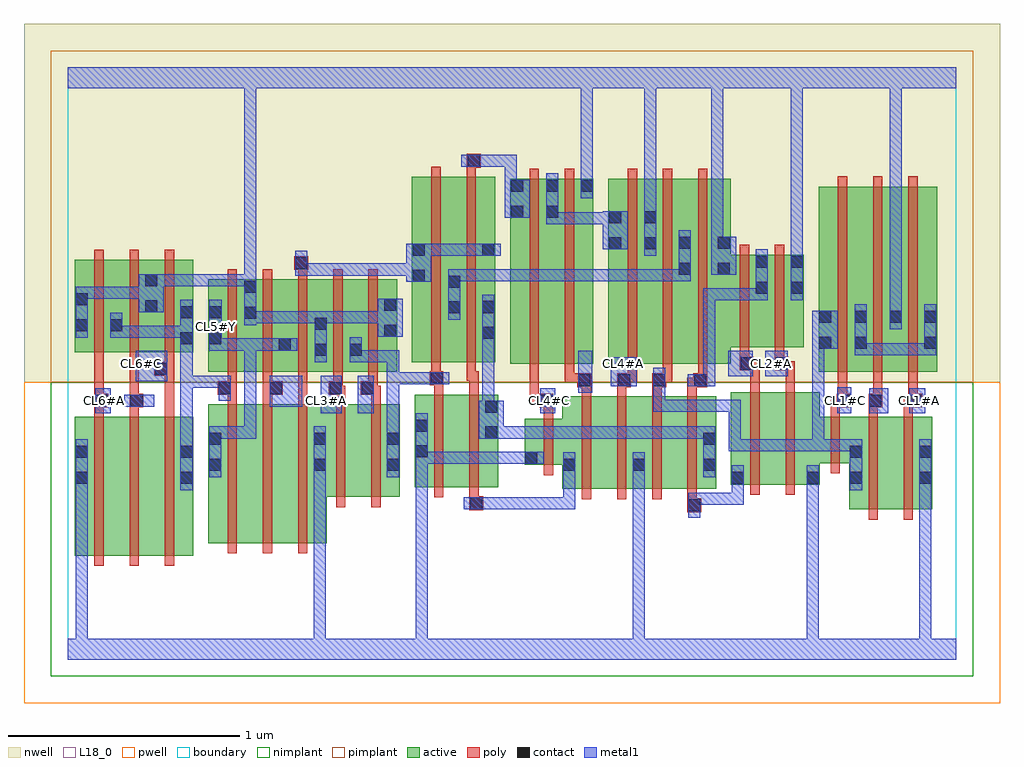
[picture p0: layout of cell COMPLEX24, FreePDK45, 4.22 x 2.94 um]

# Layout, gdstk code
import gdstk
lib = gdstk.Library(unit=1e-6, precision=1e-09)
def R(c, l, rs):  # rectangles x0, y0, x1, y1
    for r in rs: c.add(gdstk.rectangle(r[:2], r[2:], *l))
def A(c, l, x, y, w, h, nx, ny, dx, dy):  # array of equal rectangles
    R(c, l, [(x+i*dx, y+j*dy, x+i*dx+w, y+j*dy+h) for i in range(nx) for j in range(ny)])
active = (1, 0)
pwell = (2, 0)
nwell = (3, 0)
nimplant = (4, 0)
pimplant = (5, 0)
poly = (9, 0)
contact = (10, 0)
metal1 = (11, 0)
L18_0 = (18, 0)
boundary = (235, 0)

complex24 = lib.new_cell('COMPLEX24')
R(complex24, active, [(0.032,0.45,0.212,1.05), (0.212,0.45,0.364,1.05), (0.364,0.45,0.544,1.05), (0.608,0.504,0.788,1.104), (0.608,0.504,0.668,1.104), (0.788,0.504,0.94,1.104), (0.94,0.504,1.12,1.104), (1.06,0.504,1.12,0.984), (0.032,0.556,0.092,1.05), (0.484,0.556,0.544,1.05), (3.376,0.65,3.556,1.05), (3.376,0.65,3.436,0.928), (3.556,0.65,3.736,1.05), (3.676,0.65,3.736,1.05), (1.06,0.704,1.256,1.104), (1.256,0.704,1.436,1.104), (1.376,0.704,1.436,1.104), (2.138,0.738,2.318,1.138), (2.318,0.738,2.498,1.138), (2.438,0.738,2.622,1.138), (2.622,0.738,2.802,1.138), (1.5,0.746,1.56,1.146), (1.5,0.746,1.68,1.146), (1.68,0.746,1.86,1.146), (1.8,0.756,1.86,1.146), (2.438,0.756,2.498,0.872), (2.742,0.756,2.802,1.138), (2.866,0.756,2.926,1.156), (2.866,0.756,3.046,1.156), (3.046,0.756,3.25,1.156), (3.19,0.756,3.25,0.85), (2.138,0.812,2.198,0.872), (1.974,0.842,2.198,1.042), (1.974,0.842,2.034,1.042), (3.19,0.85,3.436,1.05), (0.608,1.244,0.668,1.644), (0.608,1.244,0.82,1.644), (0.76,1.244,0.968,1.644), (0.908,1.244,1.124,1.644), (1.064,1.244,1.124,1.644), (1.064,1.244,1.276,1.644), (1.216,1.244,1.276,1.644), (1.216,1.244,1.424,1.644), (1.364,1.244,1.424,1.644), (3.244,1.244,3.304,2.044), (3.244,1.244,3.456,2.044), (3.396,1.244,3.456,2.044), (3.396,1.244,3.608,2.044), (3.548,1.244,3.756,2.044), (3.696,1.244,3.756,2.044), (1.912,1.278,2.124,2.078), (2.064,1.278,2.272,2.078), (2.212,1.278,2.272,2.078), (2.336,1.278,2.396,2.078), (2.336,1.278,2.548,2.078), (2.488,1.278,2.696,2.078), (2.636,1.278,2.864,2.078), (1.488,1.286,1.548,2.086), (1.488,1.286,1.7,2.086), (1.64,1.286,1.848,2.086), (1.788,1.286,1.848,2.086), (1.64,1.292,1.7,2.044), (2.636,1.31,2.696,2.078), (0.032,1.328,0.092,1.728), (0.032,1.328,0.24,1.728), (0.18,1.328,0.24,1.728), (0.18,1.328,0.392,1.728), (0.332,1.328,0.544,1.728), (0.484,1.328,0.544,1.728), (0.908,1.332,0.968,1.644), (0.76,1.346,0.82,1.644), (2.804,1.35,3.028,1.75), (2.968,1.35,3.18,1.75), (3.12,1.35,3.18,1.75), (3.548,1.452,3.608,2.044), (2.804,1.486,2.864,1.85), (0.332,1.498,0.392,1.67), (2.968,1.578,3.028,1.75), (1.912,1.686,1.972,2.078), (2.064,1.686,2.124,2.078), (2.488,1.686,2.548,2.078)])
R(complex24, pwell, [(-0.188,-0.188,4.028,1.2)])
R(complex24, nwell, [(-0.188,1.2,4.028,2.748)])
R(complex24, nimplant, [(-0.072,-0.072,3.912,1.2)])
R(complex24, pimplant, [(-0.072,1.2,3.912,2.632)])
A(complex24, poly, 0.116, 0.406, 0.04, 0.688, 3, 1, 0.152, 0)
A(complex24, poly, 0.692, 0.46, 0.04, 0.688, 3, 1, 0.152, 0)
A(complex24, poly, 2.222, 0.694, 0.04, 0.488, 4, 1, 0.152, 0)
A(complex24, poly, 3.328, 1.11, 0.04, 0.13, 3, 1, 0.152, 0)
A(complex24, poly, 2.222, 1.142, 0.04, 0.076, 4, 1, 0.152, 0)
A(complex24, poly, 0.692, 1.164, 0.04, 0.076, 5, 1, 0.152, 0)
A(complex24, poly, 2.42, 1.198, 0.04, 0.076, 3, 1, 0.152, 0)
A(complex24, poly, 0.692, 1.2, 0.04, 0.488, 5, 1, 0.152, 0)
A(complex24, poly, 3.328, 1.2, 0.04, 0.888, 3, 1, 0.152, 0)
A(complex24, poly, 2.42, 1.234, 0.04, 0.888, 3, 1, 0.152, 0)
A(complex24, poly, 0.116, 1.284, 0.04, 0.488, 3, 1, 0.152, 0)
R(complex24, poly, [(3.46,0.606,3.5,1.094), (3.612,0.606,3.652,1.094), (2.678,0.638,2.738,0.698), (1.736,0.646,1.796,0.706), (2.678,0.658,2.718,0.734), (1.16,0.66,1.2,1.148), (1.312,0.66,1.352,1.148), (1.736,0.666,1.776,0.742), (1.584,0.702,1.624,1.19), (1.736,0.702,1.776,1.19), (2.95,0.712,2.99,1.2), (3.102,0.712,3.142,1.2), (2.058,0.798,2.098,1.086), (3.296,0.806,3.336,1.094), (2.058,1.046,2.098,1.13), (0.116,1.054,0.156,1.13), (0.268,1.054,0.308,1.13), (0.42,1.054,0.46,1.268), (3.296,1.054,3.336,1.13), (3.46,1.054,3.5,1.13), (3.612,1.054,3.652,1.13), (0.116,1.09,0.176,1.15), (0.268,1.09,0.328,1.15), (2.038,1.09,2.098,1.15), (3.296,1.09,3.362,1.13), (3.322,1.09,3.362,1.13), (3.322,1.09,3.382,1.15), (3.46,1.09,3.52,1.15), (3.612,1.09,3.672,1.13), (3.632,1.09,3.672,1.13), (3.632,1.09,3.692,1.15), (0.692,1.108,0.732,1.184), (0.844,1.108,0.884,1.184), (0.996,1.108,1.036,1.204), (1.16,1.108,1.2,1.184), (1.312,1.108,1.352,1.184), (0.116,1.11,0.156,1.15), (0.116,1.11,0.156,1.15), (0.116,1.11,0.156,1.324), (0.268,1.11,0.308,1.15), (0.268,1.11,0.308,1.15), (0.268,1.11,0.308,1.324), (1.996,1.11,2.036,1.274), (1.996,1.11,2.078,1.15), (2.038,1.11,2.078,1.15), (3.48,1.11,3.52,1.15), (3.48,1.11,3.52,1.15), (0.65,1.144,0.732,1.204), (0.692,1.144,0.732,1.184), (0.692,1.144,0.732,1.184), (0.844,1.144,0.93,1.204), (1.128,1.144,1.188,1.204), (1.148,1.144,1.188,1.184), (1.148,1.144,1.2,1.184), (1.266,1.144,1.34,1.204), (1.3,1.144,1.34,1.184), (1.3,1.144,1.352,1.184), (1.584,1.15,1.624,1.226), (1.736,1.15,1.776,1.246), (2.95,1.16,2.99,1.29), (3.102,1.16,3.142,1.29), (0.844,1.164,0.884,1.204), (0.844,1.164,0.884,1.204), (0.996,1.164,1.036,1.204), (0.996,1.164,1.036,1.204), (0.996,1.164,1.036,1.204), (2.202,1.178,2.262,1.238), (2.374,1.178,2.434,1.238), (2.526,1.178,2.586,1.238), (2.678,1.178,2.744,1.218), (2.704,1.178,2.744,1.218), (2.704,1.178,2.764,1.238), (1.564,1.186,1.624,1.246), (1.584,1.186,1.624,1.226), (1.584,1.186,1.624,1.226), (2.148,1.198,2.188,1.274), (2.148,1.198,2.242,1.238), (2.202,1.198,2.242,1.238), (2.394,1.198,2.434,1.238), (2.394,1.198,2.46,1.238), (2.546,1.198,2.586,1.238), (2.546,1.198,2.612,1.238), (1.572,1.206,1.612,1.282), (1.724,1.206,1.764,1.246), (1.724,1.206,1.764,1.246), (1.724,1.206,1.764,1.282), (1.724,1.206,1.776,1.246), (0.374,1.228,0.46,1.288), (0.42,1.228,0.46,1.268), (0.42,1.228,0.46,1.268), (1.996,1.234,2.036,2.122), (2.148,1.234,2.188,2.122), (1.572,1.242,1.612,2.13), (1.724,1.242,1.764,2.13), (0.42,1.248,0.46,1.324), (2.904,1.25,2.964,1.31), (2.924,1.25,2.964,1.29), (2.924,1.25,2.99,1.29), (3.056,1.25,3.116,1.31), (3.076,1.25,3.116,1.29), (3.076,1.25,3.142,1.29), (2.904,1.27,2.944,1.346), (3.056,1.27,3.096,1.346), (2.904,1.306,2.944,1.794), (3.056,1.306,3.096,1.794), (0.996,1.648,1.036,1.724), (0.98,1.684,1.04,1.744), (1.724,2.09,1.764,2.166), (1.724,2.126,1.784,2.186)])
A(complex24, contact, 3.248, 1.456, 0.052, 0.052, 3, 1, 0.152, 0)
R(complex24, contact, [(2.682,0.642,2.734,0.694), (1.74,0.65,1.792,0.702), (0.036,0.76,0.088,0.812), (0.488,0.76,0.54,0.812), (2.87,0.76,2.922,0.812), (3.194,0.76,3.246,0.812), (3.38,0.76,3.432,0.812), (3.68,0.76,3.732,0.812), (0.612,0.816,0.664,0.868), (1.064,0.816,1.116,0.868), (1.38,0.816,1.432,0.868), (2.142,0.816,2.194,0.868), (2.442,0.816,2.494,0.868), (2.746,0.816,2.798,0.868), (1.978,0.846,2.03,0.898), (0.036,0.872,0.088,0.924), (0.488,0.872,0.54,0.924), (3.38,0.872,3.432,0.924), (3.68,0.872,3.732,0.924), (1.504,0.874,1.556,0.926), (0.612,0.928,0.664,0.98), (1.064,0.928,1.116,0.98), (1.38,0.928,1.432,0.98), (2.746,0.928,2.798,0.98), (1.804,0.956,1.856,1.008), (1.504,0.986,1.556,1.038), (1.804,1.068,1.856,1.12), (0.12,1.094,0.172,1.146), (0.272,1.094,0.324,1.146), (2.042,1.094,2.094,1.146), (3.326,1.094,3.378,1.146), (3.464,1.094,3.516,1.146), (3.636,1.094,3.688,1.146), (0.654,1.148,0.706,1.2), (0.874,1.148,0.926,1.2), (1.132,1.148,1.184,1.2), (1.27,1.148,1.322,1.2), (2.206,1.182,2.258,1.234), (2.378,1.182,2.43,1.234), (2.53,1.182,2.582,1.234), (2.708,1.182,2.76,1.234), (1.568,1.19,1.62,1.242), (0.378,1.232,0.43,1.284), (2.908,1.254,2.96,1.306), (3.06,1.254,3.112,1.306), (1.068,1.314,1.12,1.366), (1.22,1.314,1.272,1.366), (0.912,1.336,0.964,1.388), (3.248,1.344,3.3,1.396), (3.4,1.344,3.452,1.396), (3.7,1.344,3.752,1.396), (0.488,1.364,0.54,1.416), (0.612,1.364,0.664,1.416), (1.792,1.386,1.844,1.438), (1.368,1.396,1.42,1.448), (0.036,1.42,0.088,1.472), (0.184,1.42,0.236,1.472), (1.068,1.426,1.12,1.478), (3.7,1.456,3.752,1.508), (0.764,1.474,0.816,1.526), (0.488,1.476,0.54,1.528), (0.612,1.476,0.664,1.528), (1.644,1.496,1.696,1.548), (1.792,1.498,1.844,1.55), (0.336,1.502,0.388,1.554), (1.368,1.508,1.42,1.56), (0.036,1.532,0.088,1.584), (2.972,1.582,3.024,1.634), (3.124,1.582,3.176,1.634), (0.764,1.586,0.816,1.638), (1.644,1.608,1.696,1.66), (0.336,1.614,0.388,1.666), (1.492,1.634,1.544,1.686), (2.64,1.664,2.692,1.716), (2.808,1.664,2.86,1.716), (0.984,1.688,1.036,1.74), (2.972,1.694,3.024,1.746), (3.124,1.694,3.176,1.746), (1.492,1.746,1.544,1.798), (1.792,1.746,1.844,1.798), (2.34,1.774,2.392,1.826), (2.492,1.774,2.544,1.826), (2.64,1.776,2.692,1.828), (2.808,1.776,2.86,1.828), (2.34,1.886,2.392,1.938), (2.492,1.886,2.544,1.938), (1.916,1.91,1.968,1.962), (2.068,1.91,2.12,1.962), (1.916,2.022,1.968,2.074), (2.068,2.022,2.12,2.074), (2.216,2.022,2.268,2.074), (1.728,2.13,1.78,2.182)])
R(complex24, metal1, [(0,0,3.84,0.092), (0.036,0.04,0.088,0.092), (0.036,0.04,0.088,0.092), (0.036,0.04,0.088,0.092), (0.036,0.04,0.088,0.092), (0.036,0.04,0.088,0.092), (0.036,0.04,0.088,0.092), (0.036,0.04,0.088,0.784), (1.064,0.04,1.116,0.092), (1.064,0.04,1.116,0.092), (1.064,0.04,1.116,0.092), (1.064,0.04,1.116,0.092), (1.064,0.04,1.116,0.092), (1.064,0.04,1.116,0.092), (1.064,0.04,1.116,0.092), (1.064,0.04,1.116,0.092), (1.064,0.04,1.116,0.84), (1.504,0.04,1.556,0.092), (1.504,0.04,1.556,0.092), (1.504,0.04,1.556,0.092), (1.504,0.04,1.556,0.092), (1.504,0.04,1.556,0.092), (1.504,0.04,1.556,0.092), (1.504,0.04,1.556,0.092), (1.504,0.04,1.556,0.092), (1.504,0.04,1.556,0.092), (1.504,0.04,1.556,0.092), (1.504,0.04,1.556,0.092), (1.504,0.04,1.556,0.092), (1.504,0.04,1.556,0.898), (2.442,0.04,2.494,0.84), (3.194,0.04,3.246,0.092), (3.194,0.04,3.246,0.092), (3.194,0.04,3.246,0.784), (3.68,0.04,3.732,0.092), (3.68,0.04,3.732,0.092), (3.68,0.04,3.732,0.092), (3.68,0.04,3.732,0.092), (3.68,0.04,3.732,0.092), (3.68,0.04,3.732,0.092), (3.68,0.04,3.732,0.092), (3.68,0.04,3.732,0.092), (3.68,0.04,3.732,0.092), (3.68,0.04,3.732,0.092), (3.68,0.04,3.732,0.784), (2.682,0.614,2.734,0.722), (1.712,0.65,1.82,0.702), (1.768,0.65,1.82,0.702), (1.768,0.65,1.82,0.702), (1.768,0.65,2.01,0.702), (1.958,0.65,2.01,0.702), (1.958,0.65,2.01,0.702), (1.958,0.65,2.01,0.702), (1.958,0.65,2.194,0.702), (2.142,0.65,2.194,0.702), (2.142,0.65,2.194,0.84), (2.682,0.67,2.734,0.722), (2.682,0.67,2.734,0.722), (2.682,0.67,2.922,0.722), (2.87,0.67,2.922,0.722), (2.87,0.67,2.922,0.784), (0.036,0.732,0.088,0.784), (0.036,0.732,0.088,0.784), (0.036,0.732,0.088,0.952), (0.488,0.732,0.54,0.952), (2.87,0.732,2.922,0.84), (3.194,0.732,3.246,0.784), (3.194,0.732,3.246,0.784), (3.194,0.732,3.246,0.784), (3.194,0.732,3.246,0.784), (3.194,0.732,3.246,0.784), (3.194,0.732,3.246,0.784), (3.194,0.732,3.246,0.784), (3.194,0.732,3.246,0.784), (3.194,0.732,3.246,0.784), (3.194,0.732,3.246,0.784), (3.194,0.732,3.246,0.84), (3.38,0.732,3.432,0.952), (3.68,0.732,3.732,0.784), (3.68,0.732,3.732,0.784), (3.68,0.732,3.732,0.952), (0.612,0.788,0.664,1.008), (1.064,0.788,1.116,1.008), (1.38,0.788,1.432,1.008), (2.142,0.788,2.194,0.896), (2.442,0.788,2.494,0.84), (2.442,0.788,2.494,0.84), (2.442,0.788,2.494,0.84), (2.442,0.788,2.494,0.84), (2.442,0.788,2.494,0.84), (2.442,0.788,2.494,0.84), (2.442,0.788,2.494,0.84), (2.442,0.788,2.494,0.84), (2.442,0.788,2.494,0.84), (2.442,0.788,2.494,0.84), (2.442,0.788,2.494,0.84), (2.442,0.788,2.494,0.84), (2.442,0.788,2.494,0.896), (2.746,0.788,2.798,1.008), (1.504,0.846,1.556,0.898), (1.504,0.846,1.556,0.898), (1.504,0.846,1.556,1.066), (1.504,0.846,1.698,0.898), (1.646,0.846,1.698,0.898), (1.646,0.846,1.698,0.898), (1.646,0.846,1.698,0.898), (1.646,0.846,1.9,0.898), (1.848,0.846,1.9,0.898), (1.848,0.846,2.002,0.898), (1.95,0.846,2.002,0.898), (1.95,0.846,2.002,0.898), (1.95,0.846,2.002,0.898), (1.95,0.846,2.002,0.898), (1.95,0.846,2.058,0.898), (0.488,0.9,0.54,1.228), (2.856,0.9,2.908,0.952), (2.856,0.9,2.908,0.952), (2.856,0.9,2.908,0.952), (2.856,0.9,3.066,0.952), (2.856,0.9,2.908,1.124), (3.014,0.9,3.066,0.952), (3.014,0.9,3.158,0.952), (3.106,0.9,3.158,0.952), (3.106,0.9,3.268,0.952), (3.216,0.9,3.268,0.952), (3.216,0.9,3.268,0.952), (3.216,0.9,3.268,0.952), (3.216,0.9,3.406,0.952), (3.216,0.9,3.268,1.396), (3.354,0.9,3.406,0.952), (3.354,0.9,3.432,0.952), (0.612,0.956,0.676,1.008), (0.624,0.956,0.676,1.008), (0.624,0.956,0.816,1.008), (0.764,0.956,0.816,1.008), (0.764,0.956,0.816,1.008), (0.764,0.956,0.816,1.008), (0.764,0.956,0.816,1.388), (1.38,0.956,1.432,1.242), (1.776,0.956,1.884,1.12), (1.832,0.956,2.01,1.008), (1.958,0.956,2.01,1.008), (1.958,0.956,2.01,1.008), (1.958,0.956,2.01,1.008), (1.958,0.956,2.138,1.008), (2.086,0.956,2.138,1.008), (2.086,0.956,2.138,1.008), (2.086,0.956,2.138,1.008), (2.086,0.956,2.248,1.008), (2.196,0.956,2.248,1.008), (2.196,0.956,2.248,1.008), (2.196,0.956,2.248,1.008), (2.196,0.956,2.358,1.008), (2.306,0.956,2.358,1.008), (2.306,0.956,2.472,1.008), (2.42,0.956,2.472,1.008), (2.42,0.956,2.472,1.008), (2.42,0.956,2.472,1.008), (2.42,0.956,2.608,1.008), (2.556,0.956,2.608,1.008), (2.556,0.956,2.798,1.008), (2.746,0.956,2.798,1.008), (2.746,0.956,2.798,1.008), (0.12,1.066,0.186,1.174), (1.094,1.066,1.184,1.228), (1.254,1.066,1.322,1.228), (2.042,1.066,2.106,1.174), (3.326,1.066,3.386,1.178), (3.464,1.066,3.546,1.174), (3.636,1.066,3.706,1.174), (1.792,1.068,1.844,1.41), (2.53,1.072,2.718,1.124), (2.53,1.072,2.582,1.206), (2.666,1.072,2.718,1.124), (2.666,1.072,2.718,1.124), (2.666,1.072,2.718,1.124), (2.666,1.072,2.908,1.124), (2.856,1.072,2.908,1.124), (0.244,1.094,0.374,1.146), (0.874,1.094,1.014,1.228), (0.654,1.12,0.706,1.228), (2.206,1.154,2.266,1.334), (2.53,1.154,2.582,1.206), (2.53,1.154,2.582,1.262), (0.488,1.176,0.54,1.228), (0.488,1.176,0.54,1.228), (0.488,1.176,0.54,1.228), (0.488,1.176,0.706,1.228), (0.488,1.176,0.54,1.388), (0.654,1.176,0.706,1.228), (0.654,1.176,0.706,1.228), (2.346,1.182,2.458,1.306), (2.68,1.182,2.788,1.234), (2.736,1.182,2.798,1.234), (2.746,1.182,2.798,1.234), (2.746,1.182,2.798,1.606), (1.38,1.19,1.432,1.242), (1.38,1.19,1.432,1.242), (1.38,1.19,1.432,1.242), (1.38,1.19,1.432,1.242), (1.38,1.19,1.432,1.242), (1.38,1.19,1.592,1.242), (1.38,1.19,1.432,1.338), (1.54,1.19,1.648,1.242), (0.294,1.204,0.43,1.334), (2.854,1.226,2.96,1.334), (3.014,1.226,3.112,1.334), (1.068,1.286,1.12,1.506), (1.22,1.286,1.272,1.338), (1.22,1.286,1.272,1.338), (1.22,1.286,1.272,1.394), (1.22,1.286,1.432,1.338), (1.38,1.286,1.432,1.338), (1.38,1.286,1.432,1.338), (1.38,1.286,1.432,1.338), (3.4,1.316,3.452,1.536), (3.4,1.316,3.578,1.368), (3.526,1.316,3.578,1.368), (3.526,1.316,3.578,1.368), (3.526,1.316,3.578,1.368), (3.526,1.316,3.752,1.368), (3.7,1.316,3.752,1.368), (3.7,1.316,3.752,1.368), (3.7,1.316,3.752,1.536), (0.488,1.336,0.54,1.556), (0.612,1.336,0.666,1.556), (0.614,1.336,0.666,1.388), (0.614,1.336,0.666,1.388), (0.614,1.336,0.666,1.388), (0.614,1.336,0.666,1.388), (0.614,1.336,0.816,1.388), (0.764,1.336,0.816,1.388), (0.764,1.336,0.816,1.388), (0.764,1.336,0.816,1.388), (0.764,1.336,0.816,1.388), (0.764,1.336,0.816,1.388), (0.764,1.336,0.936,1.388), (0.884,1.336,0.992,1.388), (3.216,1.344,3.268,1.396), (3.216,1.344,3.268,1.396), (3.216,1.344,3.268,1.396), (3.216,1.344,3.268,1.396), (3.216,1.344,3.328,1.508), (1.792,1.358,1.844,1.41), (1.792,1.358,1.844,1.41), (1.792,1.358,1.844,1.41), (1.792,1.358,1.844,1.41), (1.792,1.358,1.844,1.578), (0.036,1.392,0.088,1.612), (0.184,1.392,0.236,1.444), (0.184,1.392,0.236,1.444), (0.184,1.392,0.236,1.5), (0.184,1.392,0.43,1.444), (0.378,1.392,0.43,1.444), (0.378,1.392,0.43,1.444), (0.378,1.392,0.43,1.444), (0.378,1.392,0.54,1.444), (1.34,1.396,1.448,1.56), (3.552,1.428,3.604,1.536), (0.764,1.446,0.816,1.666), (0.764,1.454,0.816,1.506), (0.764,1.454,0.816,1.506), (0.764,1.454,1.006,1.506), (0.954,1.454,1.006,1.506), (0.954,1.454,1.006,1.506), (0.954,1.454,1.006,1.506), (0.954,1.454,1.12,1.506), (1.068,1.454,1.146,1.506), (1.094,1.454,1.146,1.506), (1.094,1.454,1.282,1.506), (1.23,1.454,1.282,1.506), (1.23,1.454,1.282,1.506), (1.23,1.454,1.282,1.506), (1.23,1.454,1.392,1.506), (1.644,1.468,1.696,1.688), (3.552,1.484,3.604,1.536), (3.552,1.484,3.604,1.536), (3.552,1.484,3.604,2.52), (0.308,1.502,0.416,1.666), (2.746,1.554,2.798,1.606), (2.746,1.554,2.908,1.606), (2.856,1.554,2.908,1.606), (2.856,1.554,2.908,1.606), (2.856,1.554,2.908,1.606), (2.856,1.554,3.024,1.606), (2.972,1.554,3.024,1.774), (3.124,1.554,3.176,1.774), (0.036,1.56,0.088,1.612), (0.036,1.56,0.088,1.612), (0.036,1.56,0.236,1.612), (0.184,1.56,0.236,1.612), (0.184,1.56,0.236,1.612), (0.184,1.56,0.236,1.612), (0.184,1.56,0.36,1.612), (0.364,1.614,0.416,1.666), (0.364,1.614,0.416,1.666), (0.364,1.614,0.54,1.666), (0.488,1.614,0.54,1.666), (0.488,1.614,0.65,1.666), (0.598,1.614,0.65,1.666), (0.598,1.614,0.65,1.666), (0.598,1.614,0.65,1.666), (0.598,1.614,0.816,1.666), (0.764,1.614,0.816,1.666), (0.764,1.614,0.816,1.666), (0.764,1.614,0.816,1.666), (0.764,1.614,0.816,1.666), (0.764,1.614,0.816,1.666), (0.764,1.614,0.816,1.666), (0.764,1.614,0.816,1.666), (0.764,1.614,0.816,1.666), (0.764,1.614,0.816,1.666), (0.764,1.614,0.816,1.666), (0.764,1.614,0.816,1.666), (0.764,1.614,0.816,1.666), (0.764,1.614,0.816,1.666), (0.764,1.614,0.816,1.666), (0.764,1.614,0.816,1.666), (0.764,1.614,0.816,1.666), (0.764,1.614,0.816,2.52), (1.464,1.634,1.572,1.798), (1.644,1.636,1.696,1.688), (1.644,1.636,1.696,1.688), (1.644,1.636,1.9,1.688), (1.848,1.636,1.9,1.688), (1.848,1.636,2.01,1.688), (1.958,1.636,2.01,1.688), (1.958,1.636,2.01,1.688), (1.958,1.636,2.01,1.688), (1.958,1.636,2.01,1.688), (1.958,1.636,2.01,1.688), (1.958,1.636,2.138,1.688), (2.086,1.636,2.138,1.688), (2.086,1.636,2.138,1.688), (2.086,1.636,2.138,1.688), (2.086,1.636,2.248,1.688), (2.196,1.636,2.248,1.688), (2.196,1.636,2.248,1.688), (2.196,1.636,2.248,1.688), (2.196,1.636,2.358,1.688), (2.306,1.636,2.358,1.688), (2.306,1.636,2.472,1.688), (2.42,1.636,2.472,1.688), (2.42,1.636,2.472,1.688), (2.42,1.636,2.472,1.688), (2.42,1.636,2.692,1.688), (2.64,1.636,2.692,1.856), (0.984,1.66,1.036,1.768), (0.984,1.66,1.146,1.712), (1.094,1.66,1.146,1.712), (1.094,1.66,1.146,1.712), (1.094,1.66,1.146,1.712), (1.094,1.66,1.272,1.712), (1.22,1.66,1.272,1.712), (1.22,1.66,1.272,1.712), (1.22,1.66,1.272,1.712), (1.22,1.66,1.446,1.712), (1.394,1.66,1.446,1.712), (1.394,1.66,1.516,1.712), (2.78,1.664,2.888,1.828), (3.124,1.722,3.176,1.774), (3.124,1.722,3.176,1.774), (3.124,1.722,3.176,1.774), (3.124,1.722,3.176,1.774), (3.124,1.722,3.176,1.774), (3.124,1.722,3.176,1.774), (3.124,1.722,3.176,1.774), (3.124,1.722,3.176,1.774), (3.124,1.722,3.176,1.774), (3.124,1.722,3.176,1.774), (3.124,1.722,3.176,1.774), (3.124,1.722,3.176,1.774), (3.124,1.722,3.176,1.774), (3.124,1.722,3.176,1.774), (3.124,1.722,3.176,1.774), (3.124,1.722,3.176,1.774), (3.124,1.722,3.176,2.52), (1.52,1.746,1.572,1.798), (1.52,1.746,1.572,1.798), (1.52,1.746,1.698,1.798), (1.646,1.746,1.698,1.798), (1.646,1.746,1.816,1.798), (1.764,1.746,1.816,1.798), (1.764,1.746,1.816,1.798), (1.764,1.746,1.872,1.798), (2.492,1.746,2.544,1.966), (2.312,1.774,2.42,1.938), (2.78,1.776,2.832,2.52), (2.068,1.882,2.12,1.934), (2.068,1.882,2.12,1.934), (2.068,1.882,2.12,2.102), (2.068,1.882,2.248,1.934), (2.196,1.882,2.248,1.934), (2.196,1.882,2.364,1.934), (1.888,1.91,1.996,2.074), (2.492,1.914,2.544,1.966), (2.492,1.914,2.544,1.966), (2.492,1.914,2.544,1.966), (2.492,1.914,2.544,1.966), (2.492,1.914,2.544,1.966), (2.492,1.914,2.544,1.966), (2.492,1.914,2.544,2.52), (2.216,1.994,2.268,2.102), (1.888,2.022,1.94,2.182), (2.216,2.05,2.268,2.102), (2.216,2.05,2.268,2.102), (2.216,2.05,2.268,2.102), (2.216,2.05,2.268,2.102), (2.216,2.05,2.268,2.102), (2.216,2.05,2.268,2.102), (2.216,2.05,2.268,2.102), (2.216,2.05,2.268,2.102), (2.216,2.05,2.268,2.52), (1.7,2.13,1.808,2.182), (1.756,2.13,1.808,2.182), (1.756,2.13,1.808,2.182), (1.756,2.13,1.94,2.182), (1.888,2.13,1.94,2.182), (0,2.468,3.84,2.56), (2.492,2.468,2.544,2.52), (2.492,2.468,2.544,2.52), (2.78,2.468,2.832,2.52), (2.78,2.468,2.832,2.52), (2.78,2.468,2.832,2.52), (2.78,2.468,2.832,2.52), (2.78,2.468,2.832,2.52), (2.78,2.468,2.832,2.52), (2.78,2.468,2.832,2.52), (2.78,2.468,2.832,2.52), (3.552,2.468,3.604,2.52), (3.552,2.468,3.604,2.52), (3.552,2.468,3.604,2.52), (3.552,2.468,3.604,2.52), (3.552,2.468,3.604,2.52), (3.552,2.468,3.604,2.52)])
A(complex24, L18_0, 0.934, 1.094, 0.052, 0.052, 3, 1, 0.16, 0)
A(complex24, L18_0, 3.334, 1.094, 0.052, 0.052, 3, 1, 0.16, 0)
R(complex24, L18_0, [(0,0,3.84,0.092), (0.036,0.04,0.088,0.092), (0.036,0.04,0.088,0.092), (0.036,0.04,0.088,0.092), (0.036,0.04,0.088,0.092), (0.036,0.04,0.088,0.092), (0.036,0.04,0.088,0.092), (0.036,0.04,0.088,0.784), (1.064,0.04,1.116,0.092), (1.064,0.04,1.116,0.092), (1.064,0.04,1.116,0.092), (1.064,0.04,1.116,0.092), (1.064,0.04,1.116,0.092), (1.064,0.04,1.116,0.092), (1.064,0.04,1.116,0.092), (1.064,0.04,1.116,0.092), (1.064,0.04,1.116,0.84), (1.504,0.04,1.556,0.092), (1.504,0.04,1.556,0.092), (1.504,0.04,1.556,0.092), (1.504,0.04,1.556,0.092), (1.504,0.04,1.556,0.092), (1.504,0.04,1.556,0.092), (1.504,0.04,1.556,0.092), (1.504,0.04,1.556,0.092), (1.504,0.04,1.556,0.092), (1.504,0.04,1.556,0.092), (1.504,0.04,1.556,0.092), (1.504,0.04,1.556,0.092), (1.504,0.04,1.556,0.898), (2.442,0.04,2.494,0.84), (3.194,0.04,3.246,0.092), (3.194,0.04,3.246,0.092), (3.194,0.04,3.246,0.784), (3.68,0.04,3.732,0.092), (3.68,0.04,3.732,0.092), (3.68,0.04,3.732,0.092), (3.68,0.04,3.732,0.092), (3.68,0.04,3.732,0.092), (3.68,0.04,3.732,0.092), (3.68,0.04,3.732,0.092), (3.68,0.04,3.732,0.092), (3.68,0.04,3.732,0.092), (3.68,0.04,3.732,0.092), (3.68,0.04,3.732,0.784), (0.036,0.732,0.088,0.784), (0.036,0.732,0.088,0.784), (0.036,0.732,0.088,0.952), (3.194,0.732,3.246,0.784), (3.194,0.732,3.246,0.784), (3.194,0.732,3.246,0.784), (3.194,0.732,3.246,0.784), (3.194,0.732,3.246,0.784), (3.194,0.732,3.246,0.784), (3.194,0.732,3.246,0.784), (3.194,0.732,3.246,0.784), (3.194,0.732,3.246,0.784), (3.194,0.732,3.246,0.784), (3.194,0.732,3.246,0.84), (3.68,0.732,3.732,0.784), (3.68,0.732,3.732,0.784), (3.68,0.732,3.732,0.952), (0.612,0.788,0.664,1.008), (1.064,0.788,1.116,1.008), (2.442,0.788,2.494,0.84), (2.442,0.788,2.494,0.84), (2.442,0.788,2.494,0.84), (2.442,0.788,2.494,0.84), (2.442,0.788,2.494,0.84), (2.442,0.788,2.494,0.84), (2.442,0.788,2.494,0.84), (2.442,0.788,2.494,0.84), (2.442,0.788,2.494,0.84), (2.442,0.788,2.494,0.84), (2.442,0.788,2.494,0.84), (2.442,0.788,2.494,0.84), (2.442,0.788,2.494,0.896), (1.504,0.846,1.556,0.898), (1.504,0.846,1.556,0.898), (1.504,0.846,1.556,1.066), (1.504,0.846,1.698,0.898), (1.646,0.846,1.698,0.898), (1.646,0.846,1.698,0.898), (1.646,0.846,1.698,0.898), (1.646,0.846,1.9,0.898), (1.848,0.846,1.9,0.898), (1.848,0.846,2.002,0.898), (1.95,0.846,2.002,0.898), (1.95,0.846,2.002,0.898), (1.95,0.846,2.002,0.898), (1.95,0.846,2.002,0.898), (1.95,0.846,2.058,0.898), (0.612,0.956,0.676,1.008), (0.624,0.956,0.676,1.008), (0.624,0.956,0.816,1.008), (0.764,0.956,0.816,1.008), (0.764,0.956,0.816,1.008), (0.764,0.956,0.816,1.008), (0.764,0.956,0.816,1.388), (0.12,1.066,0.186,1.174), (1.094,1.066,1.184,1.228), (1.254,1.066,1.322,1.228), (2.042,1.066,2.106,1.174), (3.326,1.066,3.386,1.178), (3.464,1.066,3.546,1.174), (3.636,1.066,3.706,1.174), (0.134,1.094,0.186,1.146), (0.244,1.094,0.374,1.146), (0.294,1.094,0.346,1.146), (0.874,1.094,1.014,1.228), (2.054,1.094,2.106,1.146), (2.206,1.154,2.266,1.334), (2.346,1.182,2.458,1.306), (0.294,1.204,0.43,1.334), (2.854,1.226,2.96,1.334), (3.014,1.226,3.112,1.334), (0.294,1.254,0.346,1.306), (2.214,1.254,2.266,1.306), (2.374,1.254,2.426,1.306), (2.854,1.254,2.906,1.306), (3.014,1.254,3.066,1.306), (1.068,1.286,1.12,1.506), (0.612,1.336,0.666,1.556), (0.614,1.336,0.666,1.388), (0.614,1.336,0.666,1.388), (0.614,1.336,0.666,1.388), (0.614,1.336,0.666,1.388), (0.614,1.336,0.816,1.388), (0.764,1.336,0.816,1.388), (0.764,1.336,0.816,1.388), (0.764,1.336,0.816,1.388), (0.764,1.336,0.816,1.388), (0.764,1.336,0.816,1.388), (0.764,1.336,0.936,1.388), (0.884,1.336,0.992,1.388), (0.036,1.392,0.088,1.612), (1.34,1.396,1.448,1.56), (0.614,1.414,0.666,1.466), (3.552,1.428,3.604,1.536), (0.764,1.446,0.816,1.666), (0.764,1.454,0.816,1.506), (0.764,1.454,0.816,1.506), (0.764,1.454,1.006,1.506), (0.954,1.454,1.006,1.506), (0.954,1.454,1.006,1.506), (0.954,1.454,1.006,1.506), (0.954,1.454,1.12,1.506), (1.068,1.454,1.146,1.506), (1.094,1.454,1.146,1.506), (1.094,1.454,1.282,1.506), (1.23,1.454,1.282,1.506), (1.23,1.454,1.282,1.506), (1.23,1.454,1.282,1.506), (1.23,1.454,1.392,1.506), (3.552,1.484,3.604,1.536), (3.552,1.484,3.604,1.536), (3.552,1.484,3.604,2.52), (0.308,1.502,0.416,1.666), (3.124,1.554,3.176,1.774), (0.036,1.56,0.088,1.612), (0.036,1.56,0.088,1.612), (0.036,1.56,0.236,1.612), (0.184,1.56,0.236,1.612), (0.184,1.56,0.236,1.612), (0.184,1.56,0.236,1.612), (0.184,1.56,0.36,1.612), (0.364,1.614,0.416,1.666), (0.364,1.614,0.416,1.666), (0.364,1.614,0.54,1.666), (0.488,1.614,0.54,1.666), (0.488,1.614,0.65,1.666), (0.598,1.614,0.65,1.666), (0.598,1.614,0.65,1.666), (0.598,1.614,0.65,1.666), (0.598,1.614,0.816,1.666), (0.764,1.614,0.816,1.666), (0.764,1.614,0.816,1.666), (0.764,1.614,0.816,1.666), (0.764,1.614,0.816,1.666), (0.764,1.614,0.816,1.666), (0.764,1.614,0.816,1.666), (0.764,1.614,0.816,1.666), (0.764,1.614,0.816,1.666), (0.764,1.614,0.816,1.666), (0.764,1.614,0.816,1.666), (0.764,1.614,0.816,1.666), (0.764,1.614,0.816,1.666), (0.764,1.614,0.816,1.666), (0.764,1.614,0.816,1.666), (0.764,1.614,0.816,1.666), (0.764,1.614,0.816,1.666), (0.764,1.614,0.816,2.52), (2.78,1.664,2.888,1.828), (3.124,1.722,3.176,1.774), (3.124,1.722,3.176,1.774), (3.124,1.722,3.176,1.774), (3.124,1.722,3.176,1.774), (3.124,1.722,3.176,1.774), (3.124,1.722,3.176,1.774), (3.124,1.722,3.176,1.774), (3.124,1.722,3.176,1.774), (3.124,1.722,3.176,1.774), (3.124,1.722,3.176,1.774), (3.124,1.722,3.176,1.774), (3.124,1.722,3.176,1.774), (3.124,1.722,3.176,1.774), (3.124,1.722,3.176,1.774), (3.124,1.722,3.176,1.774), (3.124,1.722,3.176,1.774), (3.124,1.722,3.176,2.52), (2.492,1.746,2.544,1.966), (2.78,1.776,2.832,2.52), (2.492,1.914,2.544,1.966), (2.492,1.914,2.544,1.966), (2.492,1.914,2.544,1.966), (2.492,1.914,2.544,1.966), (2.492,1.914,2.544,1.966), (2.492,1.914,2.544,1.966), (2.492,1.914,2.544,2.52), (2.216,1.994,2.268,2.102), (2.216,2.05,2.268,2.102), (2.216,2.05,2.268,2.102), (2.216,2.05,2.268,2.102), (2.216,2.05,2.268,2.102), (2.216,2.05,2.268,2.102), (2.216,2.05,2.268,2.102), (2.216,2.05,2.268,2.102), (2.216,2.05,2.268,2.102), (2.216,2.05,2.268,2.52), (0,2.468,3.84,2.56), (2.492,2.468,2.544,2.52), (2.492,2.468,2.544,2.52), (2.78,2.468,2.832,2.52), (2.78,2.468,2.832,2.52), (2.78,2.468,2.832,2.52), (2.78,2.468,2.832,2.52), (2.78,2.468,2.832,2.52), (2.78,2.468,2.832,2.52), (2.78,2.468,2.832,2.52), (2.78,2.468,2.832,2.52), (3.552,2.468,3.604,2.52), (3.552,2.468,3.604,2.52), (3.552,2.468,3.604,2.52), (3.552,2.468,3.604,2.52), (3.552,2.468,3.604,2.52), (3.552,2.468,3.604,2.52)])
R(complex24, boundary, [(0,0,3.84,2.56)])
complex24.add(gdstk.Label('CL1#A', (3.68,1.12), layer=11, texttype=0))
complex24.add(gdstk.Label('CL1#B', (3.52,1.12), layer=11, texttype=0))
complex24.add(gdstk.Label('CL1#C', (3.36,1.12), layer=11, texttype=0))
complex24.add(gdstk.Label('CL2#A', (3.04,1.28), layer=11, texttype=0))
complex24.add(gdstk.Label('CL2#B', (2.88,1.28), layer=11, texttype=0))
complex24.add(gdstk.Label('CL3#A', (1.12,1.12), layer=11, texttype=0))
complex24.add(gdstk.Label('CL3#B', (1.28,1.12), layer=11, texttype=0))
complex24.add(gdstk.Label('CL4#A', (2.4,1.28), layer=11, texttype=0))
complex24.add(gdstk.Label('CL4#B', (2.24,1.28), layer=11, texttype=0))
complex24.add(gdstk.Label('CL4#C', (2.08,1.12), layer=11, texttype=0))
complex24.add(gdstk.Label('CL5#B', (0.96,1.12), layer=11, texttype=0))
complex24.add(gdstk.Label('CL5#Y', (0.64,1.44), layer=11, texttype=0))
complex24.add(gdstk.Label('CL6#A', (0.16,1.12), layer=11, texttype=0))
complex24.add(gdstk.Label('CL6#B', (0.32,1.12), layer=11, texttype=0))
complex24.add(gdstk.Label('CL6#C', (0.32,1.28), layer=11, texttype=0))

lib.write_gds('COMPLEX24.gds')
